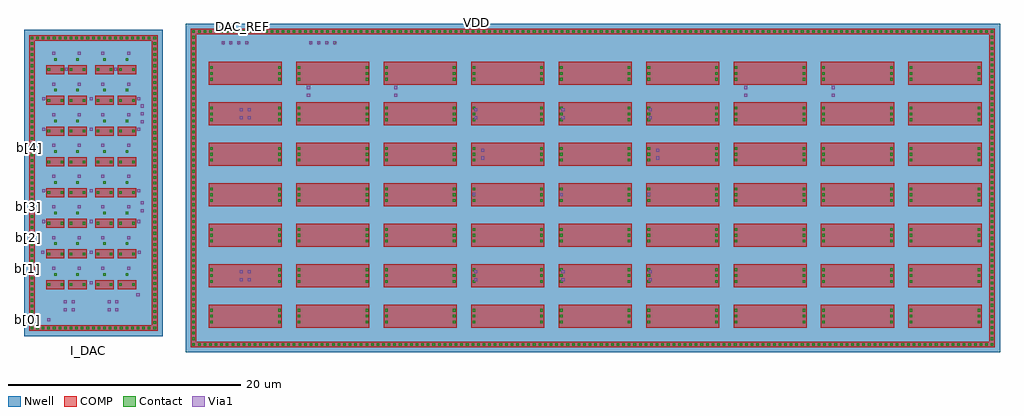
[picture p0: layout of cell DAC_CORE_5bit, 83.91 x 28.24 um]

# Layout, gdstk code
from math import pi, radians
import gdstk
lib = gdstk.Library(unit=1e-6, precision=5e-09)
def R(c, l, rs):  # rectangles x0, y0, x1, y1
    for r in rs: c.add(gdstk.rectangle(r[:2], r[2:], *l))
def A(c, l, x, y, w, h, nx, ny, dx, dy):  # array of equal rectangles
    R(c, l, [(x+i*dx, y+j*dy, x+i*dx+w, y+j*dy+h) for i in range(nx) for j in range(ny)])
Nwell = (21, 0)
COMP = (22, 0)
Contact = (33, 0)
Via1 = (35, 0)

d_pfet_03v3 = lib.new_cell('D$pfet_03v3')

d_pfet_03v3_1 = lib.new_cell('D$pfet_03v3$1')

dac_core_5bit = lib.new_cell('DAC_CORE_5bit')
A(dac_core_5bit, Nwell, 15.79, 0, 1.36, 1.36, 144, 2, 0.48, 26.88)
A(dac_core_5bit, Nwell, 15.79, 0.48, 1.36, 1.36, 1, 55, 0, 0.48)
A(dac_core_5bit, Nwell, 84.43, 0.48, 1.36, 1.36, 1, 55, 0, 0.48)
A(dac_core_5bit, Nwell, 17.15, 1.36, 7.52, 3.48, 9, 7, 7.52, 3.48)
A(dac_core_5bit, Nwell, 1.88, 1.39, 1.36, 1.36, 23, 2, 0.48, 24.96)
A(dac_core_5bit, Nwell, 1.88, 1.87, 1.36, 1.36, 1, 51, 0, 0.48)
A(dac_core_5bit, Nwell, 12.44, 1.87, 1.36, 1.36, 1, 51, 0, 0.48)
A(dac_core_5bit, Nwell, 3.17, 4.68, 2.8, 2.64, 1, 8, 0, 2.64)
A(dac_core_5bit, Nwell, 5.09, 4.68, 2.8, 2.64, 1, 8, 0, 2.64)
A(dac_core_5bit, Nwell, 7.41, 4.68, 2.8, 2.64, 1, 8, 0, 2.64)
A(dac_core_5bit, Nwell, 9.33, 4.68, 2.8, 2.64, 1, 8, 0, 2.64)
R(dac_core_5bit, Nwell, [(15.79,0,85.79,28.24), (1.88,1.39,13.32,27.71)])
A(dac_core_5bit, COMP, 16.23, 0.44, 0.48, 0.48, 144, 2, 0.48, 26.88)
A(dac_core_5bit, COMP, 16.23, 0.92, 0.48, 0.48, 1, 55, 0, 0.48)
A(dac_core_5bit, COMP, 84.87, 0.92, 0.48, 0.48, 1, 55, 0, 0.48)
A(dac_core_5bit, COMP, 2.32, 1.83, 0.48, 0.48, 23, 2, 0.48, 24.96)
A(dac_core_5bit, COMP, 17.76, 2.1, 6.3, 2, 9, 7, 7.52, 3.48)
A(dac_core_5bit, COMP, 2.32, 2.31, 0.48, 0.48, 1, 51, 0, 0.48)
A(dac_core_5bit, COMP, 12.88, 2.31, 0.48, 0.48, 1, 51, 0, 0.48)
A(dac_core_5bit, COMP, 3.78, 5.42, 1.58, 0.78, 1, 8, 0, 2.64)
A(dac_core_5bit, COMP, 5.7, 5.42, 1.58, 0.78, 1, 8, 0, 2.64)
A(dac_core_5bit, COMP, 8.02, 5.42, 1.58, 0.78, 1, 8, 0, 2.64)
A(dac_core_5bit, COMP, 9.94, 5.42, 1.58, 0.78, 1, 8, 0, 2.64)
A(dac_core_5bit, Contact, 16.36, 0.57, 0.22, 0.22, 144, 2, 0.48, 26.88)
A(dac_core_5bit, Contact, 16.36, 1.05, 0.22, 0.22, 1, 55, 0, 0.48)
A(dac_core_5bit, Contact, 85, 1.05, 0.22, 0.22, 1, 55, 0, 0.48)
A(dac_core_5bit, Contact, 2.45, 1.96, 0.22, 0.22, 23, 2, 0.48, 24.96)
A(dac_core_5bit, Contact, 2.45, 2.44, 0.22, 0.22, 1, 51, 0, 0.48)
A(dac_core_5bit, Contact, 13.01, 2.44, 0.22, 0.22, 1, 51, 0, 0.48)
A(dac_core_5bit, Contact, 17.88, 2.48, 0.22, 0.22, 1, 3, 0, 0.51)
A(dac_core_5bit, Contact, 23.72, 2.48, 0.22, 0.22, 1, 3, 0, 0.51)
A(dac_core_5bit, Contact, 25.4, 2.48, 0.22, 0.22, 1, 3, 0, 0.51)
A(dac_core_5bit, Contact, 31.24, 2.48, 0.22, 0.22, 1, 3, 0, 0.51)
A(dac_core_5bit, Contact, 32.92, 2.48, 0.22, 0.22, 1, 3, 0, 0.51)
A(dac_core_5bit, Contact, 38.76, 2.48, 0.22, 0.22, 1, 3, 0, 0.51)
A(dac_core_5bit, Contact, 40.44, 2.48, 0.22, 0.22, 1, 3, 0, 0.51)
A(dac_core_5bit, Contact, 46.28, 2.48, 0.22, 0.22, 1, 3, 0, 0.51)
A(dac_core_5bit, Contact, 47.96, 2.48, 0.22, 0.22, 1, 3, 0, 0.51)
A(dac_core_5bit, Contact, 53.8, 2.48, 0.22, 0.22, 1, 3, 0, 0.51)
A(dac_core_5bit, Contact, 55.48, 2.48, 0.22, 0.22, 1, 3, 0, 0.51)
A(dac_core_5bit, Contact, 61.32, 2.48, 0.22, 0.22, 1, 3, 0, 0.51)
A(dac_core_5bit, Contact, 63, 2.48, 0.22, 0.22, 1, 3, 0, 0.51)
A(dac_core_5bit, Contact, 68.84, 2.48, 0.22, 0.22, 1, 3, 0, 0.51)
A(dac_core_5bit, Contact, 70.52, 2.48, 0.22, 0.22, 1, 3, 0, 0.51)
A(dac_core_5bit, Contact, 76.36, 2.48, 0.22, 0.22, 1, 3, 0, 0.51)
A(dac_core_5bit, Contact, 78.04, 2.48, 0.22, 0.22, 1, 3, 0, 0.51)
A(dac_core_5bit, Contact, 83.88, 2.48, 0.22, 0.22, 1, 3, 0, 0.51)
A(dac_core_5bit, Contact, 3.9, 5.7, 0.22, 0.22, 1, 8, 0, 2.64)
A(dac_core_5bit, Contact, 5.02, 5.7, 0.22, 0.22, 1, 8, 0, 2.64)
A(dac_core_5bit, Contact, 5.82, 5.7, 0.22, 0.22, 1, 8, 0, 2.64)
A(dac_core_5bit, Contact, 6.94, 5.7, 0.22, 0.22, 1, 8, 0, 2.64)
A(dac_core_5bit, Contact, 8.14, 5.7, 0.22, 0.22, 1, 8, 0, 2.64)
A(dac_core_5bit, Contact, 9.26, 5.7, 0.22, 0.22, 1, 8, 0, 2.64)
A(dac_core_5bit, Contact, 10.06, 5.7, 0.22, 0.22, 1, 8, 0, 2.64)
A(dac_core_5bit, Contact, 11.18, 5.7, 0.22, 0.22, 1, 8, 0, 2.64)
A(dac_core_5bit, Contact, 17.88, 5.96, 0.22, 0.22, 1, 3, 0, 0.51)
A(dac_core_5bit, Contact, 23.72, 5.96, 0.22, 0.22, 1, 3, 0, 0.51)
A(dac_core_5bit, Contact, 25.4, 5.96, 0.22, 0.22, 1, 3, 0, 0.51)
A(dac_core_5bit, Contact, 31.24, 5.96, 0.22, 0.22, 1, 3, 0, 0.51)
A(dac_core_5bit, Contact, 32.92, 5.96, 0.22, 0.22, 1, 3, 0, 0.51)
A(dac_core_5bit, Contact, 38.76, 5.96, 0.22, 0.22, 1, 3, 0, 0.51)
A(dac_core_5bit, Contact, 40.44, 5.96, 0.22, 0.22, 1, 3, 0, 0.51)
A(dac_core_5bit, Contact, 46.28, 5.96, 0.22, 0.22, 1, 3, 0, 0.51)
A(dac_core_5bit, Contact, 47.96, 5.96, 0.22, 0.22, 1, 3, 0, 0.51)
A(dac_core_5bit, Contact, 53.8, 5.96, 0.22, 0.22, 1, 3, 0, 0.51)
A(dac_core_5bit, Contact, 55.48, 5.96, 0.22, 0.22, 1, 3, 0, 0.51)
A(dac_core_5bit, Contact, 61.32, 5.96, 0.22, 0.22, 1, 3, 0, 0.51)
A(dac_core_5bit, Contact, 63, 5.96, 0.22, 0.22, 1, 3, 0, 0.51)
A(dac_core_5bit, Contact, 68.84, 5.96, 0.22, 0.22, 1, 3, 0, 0.51)
A(dac_core_5bit, Contact, 70.52, 5.96, 0.22, 0.22, 1, 3, 0, 0.51)
A(dac_core_5bit, Contact, 76.36, 5.96, 0.22, 0.22, 1, 3, 0, 0.51)
A(dac_core_5bit, Contact, 78.04, 5.96, 0.22, 0.22, 1, 3, 0, 0.51)
A(dac_core_5bit, Contact, 83.88, 5.96, 0.22, 0.22, 1, 3, 0, 0.51)
A(dac_core_5bit, Contact, 4.46, 6.58, 0.22, 0.22, 1, 8, 0, 2.64)
A(dac_core_5bit, Contact, 6.38, 6.58, 0.22, 0.22, 1, 8, 0, 2.64)
A(dac_core_5bit, Contact, 8.7, 6.58, 0.22, 0.22, 1, 8, 0, 2.64)
A(dac_core_5bit, Contact, 10.62, 6.58, 0.22, 0.22, 1, 8, 0, 2.64)
A(dac_core_5bit, Contact, 17.88, 9.44, 0.22, 0.22, 1, 3, 0, 0.51)
A(dac_core_5bit, Contact, 23.72, 9.44, 0.22, 0.22, 1, 3, 0, 0.51)
A(dac_core_5bit, Contact, 25.4, 9.44, 0.22, 0.22, 1, 3, 0, 0.51)
A(dac_core_5bit, Contact, 31.24, 9.44, 0.22, 0.22, 1, 3, 0, 0.51)
A(dac_core_5bit, Contact, 32.92, 9.44, 0.22, 0.22, 1, 3, 0, 0.51)
A(dac_core_5bit, Contact, 38.76, 9.44, 0.22, 0.22, 1, 3, 0, 0.51)
A(dac_core_5bit, Contact, 40.44, 9.44, 0.22, 0.22, 1, 3, 0, 0.51)
A(dac_core_5bit, Contact, 46.28, 9.44, 0.22, 0.22, 1, 3, 0, 0.51)
A(dac_core_5bit, Contact, 47.96, 9.44, 0.22, 0.22, 1, 3, 0, 0.51)
A(dac_core_5bit, Contact, 53.8, 9.44, 0.22, 0.22, 1, 3, 0, 0.51)
A(dac_core_5bit, Contact, 55.48, 9.44, 0.22, 0.22, 1, 3, 0, 0.51)
A(dac_core_5bit, Contact, 61.32, 9.44, 0.22, 0.22, 1, 3, 0, 0.51)
A(dac_core_5bit, Contact, 63, 9.44, 0.22, 0.22, 1, 3, 0, 0.51)
A(dac_core_5bit, Contact, 68.84, 9.44, 0.22, 0.22, 1, 3, 0, 0.51)
A(dac_core_5bit, Contact, 70.52, 9.44, 0.22, 0.22, 1, 3, 0, 0.51)
A(dac_core_5bit, Contact, 76.36, 9.44, 0.22, 0.22, 1, 3, 0, 0.51)
A(dac_core_5bit, Contact, 78.04, 9.44, 0.22, 0.22, 1, 3, 0, 0.51)
A(dac_core_5bit, Contact, 83.88, 9.44, 0.22, 0.22, 1, 3, 0, 0.51)
A(dac_core_5bit, Contact, 17.88, 12.92, 0.22, 0.22, 1, 3, 0, 0.51)
A(dac_core_5bit, Contact, 23.72, 12.92, 0.22, 0.22, 1, 3, 0, 0.51)
A(dac_core_5bit, Contact, 25.4, 12.92, 0.22, 0.22, 1, 3, 0, 0.51)
A(dac_core_5bit, Contact, 31.24, 12.92, 0.22, 0.22, 1, 3, 0, 0.51)
A(dac_core_5bit, Contact, 32.92, 12.92, 0.22, 0.22, 1, 3, 0, 0.51)
A(dac_core_5bit, Contact, 38.76, 12.92, 0.22, 0.22, 1, 3, 0, 0.51)
A(dac_core_5bit, Contact, 40.44, 12.92, 0.22, 0.22, 1, 3, 0, 0.51)
A(dac_core_5bit, Contact, 46.28, 12.92, 0.22, 0.22, 1, 3, 0, 0.51)
A(dac_core_5bit, Contact, 47.96, 12.92, 0.22, 0.22, 1, 3, 0, 0.51)
A(dac_core_5bit, Contact, 53.8, 12.92, 0.22, 0.22, 1, 3, 0, 0.51)
A(dac_core_5bit, Contact, 55.48, 12.92, 0.22, 0.22, 1, 3, 0, 0.51)
A(dac_core_5bit, Contact, 61.32, 12.92, 0.22, 0.22, 1, 3, 0, 0.51)
A(dac_core_5bit, Contact, 63, 12.92, 0.22, 0.22, 1, 3, 0, 0.51)
A(dac_core_5bit, Contact, 68.84, 12.92, 0.22, 0.22, 1, 3, 0, 0.51)
A(dac_core_5bit, Contact, 70.52, 12.92, 0.22, 0.22, 1, 3, 0, 0.51)
A(dac_core_5bit, Contact, 76.36, 12.92, 0.22, 0.22, 1, 3, 0, 0.51)
A(dac_core_5bit, Contact, 78.04, 12.92, 0.22, 0.22, 1, 3, 0, 0.51)
A(dac_core_5bit, Contact, 83.88, 12.92, 0.22, 0.22, 1, 3, 0, 0.51)
A(dac_core_5bit, Contact, 17.88, 16.4, 0.22, 0.22, 1, 3, 0, 0.51)
A(dac_core_5bit, Contact, 23.72, 16.4, 0.22, 0.22, 1, 3, 0, 0.51)
A(dac_core_5bit, Contact, 25.4, 16.4, 0.22, 0.22, 1, 3, 0, 0.51)
A(dac_core_5bit, Contact, 31.24, 16.4, 0.22, 0.22, 1, 3, 0, 0.51)
A(dac_core_5bit, Contact, 32.92, 16.4, 0.22, 0.22, 1, 3, 0, 0.51)
A(dac_core_5bit, Contact, 38.76, 16.4, 0.22, 0.22, 1, 3, 0, 0.51)
A(dac_core_5bit, Contact, 40.44, 16.4, 0.22, 0.22, 1, 3, 0, 0.51)
A(dac_core_5bit, Contact, 46.28, 16.4, 0.22, 0.22, 1, 3, 0, 0.51)
A(dac_core_5bit, Contact, 47.96, 16.4, 0.22, 0.22, 1, 3, 0, 0.51)
A(dac_core_5bit, Contact, 53.8, 16.4, 0.22, 0.22, 1, 3, 0, 0.51)
A(dac_core_5bit, Contact, 55.48, 16.4, 0.22, 0.22, 1, 3, 0, 0.51)
A(dac_core_5bit, Contact, 61.32, 16.4, 0.22, 0.22, 1, 3, 0, 0.51)
A(dac_core_5bit, Contact, 63, 16.4, 0.22, 0.22, 1, 3, 0, 0.51)
A(dac_core_5bit, Contact, 68.84, 16.4, 0.22, 0.22, 1, 3, 0, 0.51)
A(dac_core_5bit, Contact, 70.52, 16.4, 0.22, 0.22, 1, 3, 0, 0.51)
A(dac_core_5bit, Contact, 76.36, 16.4, 0.22, 0.22, 1, 3, 0, 0.51)
A(dac_core_5bit, Contact, 78.04, 16.4, 0.22, 0.22, 1, 3, 0, 0.51)
A(dac_core_5bit, Contact, 83.88, 16.4, 0.22, 0.22, 1, 3, 0, 0.51)
A(dac_core_5bit, Contact, 17.88, 19.88, 0.22, 0.22, 1, 3, 0, 0.51)
A(dac_core_5bit, Contact, 23.72, 19.88, 0.22, 0.22, 1, 3, 0, 0.51)
A(dac_core_5bit, Contact, 25.4, 19.88, 0.22, 0.22, 1, 3, 0, 0.51)
A(dac_core_5bit, Contact, 31.24, 19.88, 0.22, 0.22, 1, 3, 0, 0.51)
A(dac_core_5bit, Contact, 32.92, 19.88, 0.22, 0.22, 1, 3, 0, 0.51)
A(dac_core_5bit, Contact, 38.76, 19.88, 0.22, 0.22, 1, 3, 0, 0.51)
A(dac_core_5bit, Contact, 40.44, 19.88, 0.22, 0.22, 1, 3, 0, 0.51)
A(dac_core_5bit, Contact, 46.28, 19.88, 0.22, 0.22, 1, 3, 0, 0.51)
A(dac_core_5bit, Contact, 47.96, 19.88, 0.22, 0.22, 1, 3, 0, 0.51)
A(dac_core_5bit, Contact, 53.8, 19.88, 0.22, 0.22, 1, 3, 0, 0.51)
A(dac_core_5bit, Contact, 55.48, 19.88, 0.22, 0.22, 1, 3, 0, 0.51)
A(dac_core_5bit, Contact, 61.32, 19.88, 0.22, 0.22, 1, 3, 0, 0.51)
A(dac_core_5bit, Contact, 63, 19.88, 0.22, 0.22, 1, 3, 0, 0.51)
A(dac_core_5bit, Contact, 68.84, 19.88, 0.22, 0.22, 1, 3, 0, 0.51)
A(dac_core_5bit, Contact, 70.52, 19.88, 0.22, 0.22, 1, 3, 0, 0.51)
A(dac_core_5bit, Contact, 76.36, 19.88, 0.22, 0.22, 1, 3, 0, 0.51)
A(dac_core_5bit, Contact, 78.04, 19.88, 0.22, 0.22, 1, 3, 0, 0.51)
A(dac_core_5bit, Contact, 83.88, 19.88, 0.22, 0.22, 1, 3, 0, 0.51)
A(dac_core_5bit, Contact, 17.88, 23.36, 0.22, 0.22, 1, 3, 0, 0.51)
A(dac_core_5bit, Contact, 23.72, 23.36, 0.22, 0.22, 1, 3, 0, 0.51)
A(dac_core_5bit, Contact, 25.4, 23.36, 0.22, 0.22, 1, 3, 0, 0.51)
A(dac_core_5bit, Contact, 31.24, 23.36, 0.22, 0.22, 1, 3, 0, 0.51)
A(dac_core_5bit, Contact, 32.92, 23.36, 0.22, 0.22, 1, 3, 0, 0.51)
A(dac_core_5bit, Contact, 38.76, 23.36, 0.22, 0.22, 1, 3, 0, 0.51)
A(dac_core_5bit, Contact, 40.44, 23.36, 0.22, 0.22, 1, 3, 0, 0.51)
A(dac_core_5bit, Contact, 46.28, 23.36, 0.22, 0.22, 1, 3, 0, 0.51)
A(dac_core_5bit, Contact, 47.96, 23.36, 0.22, 0.22, 1, 3, 0, 0.51)
A(dac_core_5bit, Contact, 53.8, 23.36, 0.22, 0.22, 1, 3, 0, 0.51)
A(dac_core_5bit, Contact, 55.48, 23.36, 0.22, 0.22, 1, 3, 0, 0.51)
A(dac_core_5bit, Contact, 61.32, 23.36, 0.22, 0.22, 1, 3, 0, 0.51)
A(dac_core_5bit, Contact, 63, 23.36, 0.22, 0.22, 1, 3, 0, 0.51)
A(dac_core_5bit, Contact, 68.84, 23.36, 0.22, 0.22, 1, 3, 0, 0.51)
A(dac_core_5bit, Contact, 70.52, 23.36, 0.22, 0.22, 1, 3, 0, 0.51)
A(dac_core_5bit, Contact, 76.36, 23.36, 0.22, 0.22, 1, 3, 0, 0.51)
A(dac_core_5bit, Contact, 78.04, 23.36, 0.22, 0.22, 1, 3, 0, 0.51)
A(dac_core_5bit, Contact, 83.88, 23.36, 0.22, 0.22, 1, 3, 0, 0.51)
A(dac_core_5bit, Contact, 18.88, 26.5, 0.22, 0.22, 4, 1, 0.68, 0)
A(dac_core_5bit, Contact, 26.44, 26.5, 0.22, 0.22, 4, 1, 0.68, 0)
A(dac_core_5bit, Via1, 4.29, 7.09, 0.26, 0.26, 1, 8, 0, 2.64)
A(dac_core_5bit, Via1, 6.51, 7.09, 0.26, 0.26, 1, 8, 0, 2.64)
A(dac_core_5bit, Via1, 8.53, 7.09, 0.26, 0.26, 1, 8, 0, 2.64)
A(dac_core_5bit, Via1, 10.75, 7.09, 0.26, 0.26, 1, 8, 0, 2.64)
A(dac_core_5bit, Via1, 3.38, 8.47, 0.26, 0.26, 3, 1, 4.14, 0)
A(dac_core_5bit, Via1, 3.44, 19.03, 0.26, 0.26, 3, 2, 4.08, 2.64)
A(dac_core_5bit, Via1, 11.9, 19.68, 0.26, 0.26, 1, 3, 0, 0.68)
A(dac_core_5bit, Via1, 18.86, 26.48, 0.26, 0.26, 4, 1, 0.68, 0)
A(dac_core_5bit, Via1, 26.42, 26.48, 0.26, 0.26, 4, 1, 0.68, 0)
R(dac_core_5bit, Via1, [(3.89,2.68,4.15,2.94), (5.3,3.53,5.56,3.79), (5.98,3.53,6.24,3.79), (9.06,3.53,9.32,3.79), (9.74,3.53,10,3.79), (5.3,4.21,5.56,4.47), (5.98,4.21,6.24,4.47), (9.06,4.21,9.32,4.47), (9.74,4.21,10,4.47), (11.55,4.83,11.81,5.09), (7.52,5.83,7.78,6.09), (20.44,6.11,20.7,6.37), (21.12,6.11,21.38,6.37), (40.58,6.11,40.84,6.37), (48.09,6.11,48.35,6.37), (55.61,6.11,55.87,6.37), (20.44,6.79,20.7,7.05), (21.12,6.79,21.38,7.05), (40.58,6.79,40.84,7.05), (48.09,6.79,48.35,7.05), (55.61,6.79,55.87,7.05), (3.45,11.11,3.71,11.37), (7.52,11.11,7.78,11.37), (11.6,11.11,11.86,11.37), (11.9,12.03,12.16,12.29), (11.9,12.71,12.16,12.97), (47.93,13.43,48.19,13.69), (40.41,13.45,40.67,13.71), (55.45,13.45,55.71,13.71), (3.45,13.75,3.71,14.01), (7.52,13.75,7.78,14.01), (11.6,13.75,11.86,14.01), (41.19,16.57,41.45,16.83), (56.23,16.57,56.49,16.83), (41.19,17.25,41.45,17.51), (56.23,17.25,56.49,17.51), (20.44,20.03,20.7,20.29), (21.12,20.03,21.38,20.29), (40.58,20.03,40.84,20.29), (48.09,20.03,48.35,20.29), (55.61,20.03,55.87,20.29), (20.44,20.71,20.7,20.97), (21.12,20.71,21.38,20.97), (40.58,20.71,40.84,20.97), (48.09,20.71,48.35,20.97), (55.61,20.71,55.87,20.97), (26.21,21.95,26.47,22.21), (33.73,21.95,33.99,22.21), (63.81,21.95,64.07,22.21), (71.34,21.95,71.6,22.21), (26.21,22.63,26.47,22.89), (33.73,22.63,33.99,22.89), (63.81,22.63,64.07,22.89), (71.34,22.63,71.6,22.89), (5.4,24.18,5.66,24.44), (9.64,24.18,9.9,24.44)])
dac_core_5bit.add(gdstk.Reference(d_pfet_03v3, (6.49,5.81)))
dac_core_5bit.add(gdstk.Reference(d_pfet_03v3, (10.73,5.81)))
dac_core_5bit.add(gdstk.Reference(d_pfet_03v3, (6.49,8.45)))
dac_core_5bit.add(gdstk.Reference(d_pfet_03v3, (10.73,8.45)))
dac_core_5bit.add(gdstk.Reference(d_pfet_03v3, (6.49,11.09)))
dac_core_5bit.add(gdstk.Reference(d_pfet_03v3, (10.73,11.09)))
dac_core_5bit.add(gdstk.Reference(d_pfet_03v3, (6.49,13.73)))
dac_core_5bit.add(gdstk.Reference(d_pfet_03v3, (10.73,13.73)))
dac_core_5bit.add(gdstk.Reference(d_pfet_03v3, (6.49,16.37)))
dac_core_5bit.add(gdstk.Reference(d_pfet_03v3, (10.73,16.37)))
dac_core_5bit.add(gdstk.Reference(d_pfet_03v3, (6.49,19.01)))
dac_core_5bit.add(gdstk.Reference(d_pfet_03v3, (10.73,19.01)))
dac_core_5bit.add(gdstk.Reference(d_pfet_03v3, (6.49,21.65)))
dac_core_5bit.add(gdstk.Reference(d_pfet_03v3, (10.73,21.65)))
dac_core_5bit.add(gdstk.Reference(d_pfet_03v3, (6.49,24.29)))
dac_core_5bit.add(gdstk.Reference(d_pfet_03v3, (10.73,24.29)))
dac_core_5bit.add(gdstk.Reference(d_pfet_03v3, (4.57,5.81), rotation=pi, x_reflection=True))
dac_core_5bit.add(gdstk.Reference(d_pfet_03v3, (8.81,5.81), rotation=pi, x_reflection=True))
dac_core_5bit.add(gdstk.Reference(d_pfet_03v3, (4.57,8.45), rotation=pi, x_reflection=True))
dac_core_5bit.add(gdstk.Reference(d_pfet_03v3, (8.81,8.45), rotation=pi, x_reflection=True))
dac_core_5bit.add(gdstk.Reference(d_pfet_03v3, (4.57,11.09), rotation=pi, x_reflection=True))
dac_core_5bit.add(gdstk.Reference(d_pfet_03v3, (8.81,11.09), rotation=pi, x_reflection=True))
dac_core_5bit.add(gdstk.Reference(d_pfet_03v3, (4.57,13.73), rotation=pi, x_reflection=True))
dac_core_5bit.add(gdstk.Reference(d_pfet_03v3, (8.81,13.73), rotation=pi, x_reflection=True))
dac_core_5bit.add(gdstk.Reference(d_pfet_03v3, (4.57,16.37), rotation=pi, x_reflection=True))
dac_core_5bit.add(gdstk.Reference(d_pfet_03v3, (8.81,16.37), rotation=pi, x_reflection=True))
dac_core_5bit.add(gdstk.Reference(d_pfet_03v3, (4.57,19.01), rotation=pi, x_reflection=True))
dac_core_5bit.add(gdstk.Reference(d_pfet_03v3, (8.81,19.01), rotation=pi, x_reflection=True))
dac_core_5bit.add(gdstk.Reference(d_pfet_03v3, (4.57,21.65), rotation=pi, x_reflection=True))
dac_core_5bit.add(gdstk.Reference(d_pfet_03v3, (8.81,21.65), rotation=pi, x_reflection=True))
dac_core_5bit.add(gdstk.Reference(d_pfet_03v3, (4.57,24.29), rotation=pi, x_reflection=True))
dac_core_5bit.add(gdstk.Reference(d_pfet_03v3, (8.81,24.29), rotation=pi, x_reflection=True))
dac_core_5bit.add(gdstk.Reference(d_pfet_03v3_1, (20.91,3.1)))
dac_core_5bit.add(gdstk.Reference(d_pfet_03v3_1, (28.43,3.1)))
dac_core_5bit.add(gdstk.Reference(d_pfet_03v3_1, (35.95,3.1)))
dac_core_5bit.add(gdstk.Reference(d_pfet_03v3_1, (43.47,3.1)))
dac_core_5bit.add(gdstk.Reference(d_pfet_03v3_1, (50.99,3.1)))
dac_core_5bit.add(gdstk.Reference(d_pfet_03v3_1, (58.51,3.1)))
dac_core_5bit.add(gdstk.Reference(d_pfet_03v3_1, (66.03,3.1)))
dac_core_5bit.add(gdstk.Reference(d_pfet_03v3_1, (73.55,3.1)))
dac_core_5bit.add(gdstk.Reference(d_pfet_03v3_1, (81.07,3.1)))
dac_core_5bit.add(gdstk.Reference(d_pfet_03v3_1, (20.91,6.58)))
dac_core_5bit.add(gdstk.Reference(d_pfet_03v3_1, (28.43,6.58)))
dac_core_5bit.add(gdstk.Reference(d_pfet_03v3_1, (35.95,6.58)))
dac_core_5bit.add(gdstk.Reference(d_pfet_03v3_1, (43.47,6.58)))
dac_core_5bit.add(gdstk.Reference(d_pfet_03v3_1, (50.99,6.58)))
dac_core_5bit.add(gdstk.Reference(d_pfet_03v3_1, (58.51,6.58)))
dac_core_5bit.add(gdstk.Reference(d_pfet_03v3_1, (66.03,6.58)))
dac_core_5bit.add(gdstk.Reference(d_pfet_03v3_1, (73.55,6.58)))
dac_core_5bit.add(gdstk.Reference(d_pfet_03v3_1, (81.07,6.58)))
dac_core_5bit.add(gdstk.Reference(d_pfet_03v3_1, (20.91,10.06)))
dac_core_5bit.add(gdstk.Reference(d_pfet_03v3_1, (28.43,10.06)))
dac_core_5bit.add(gdstk.Reference(d_pfet_03v3_1, (35.95,10.06)))
dac_core_5bit.add(gdstk.Reference(d_pfet_03v3_1, (43.47,10.06)))
dac_core_5bit.add(gdstk.Reference(d_pfet_03v3_1, (50.99,10.06)))
dac_core_5bit.add(gdstk.Reference(d_pfet_03v3_1, (58.51,10.06)))
dac_core_5bit.add(gdstk.Reference(d_pfet_03v3_1, (66.03,10.06)))
dac_core_5bit.add(gdstk.Reference(d_pfet_03v3_1, (73.55,10.06)))
dac_core_5bit.add(gdstk.Reference(d_pfet_03v3_1, (81.07,10.06)))
dac_core_5bit.add(gdstk.Reference(d_pfet_03v3_1, (20.91,13.54)))
dac_core_5bit.add(gdstk.Reference(d_pfet_03v3_1, (28.43,13.54)))
dac_core_5bit.add(gdstk.Reference(d_pfet_03v3_1, (35.95,13.54)))
dac_core_5bit.add(gdstk.Reference(d_pfet_03v3_1, (43.47,13.54)))
dac_core_5bit.add(gdstk.Reference(d_pfet_03v3_1, (50.99,13.54)))
dac_core_5bit.add(gdstk.Reference(d_pfet_03v3_1, (58.51,13.54)))
dac_core_5bit.add(gdstk.Reference(d_pfet_03v3_1, (66.03,13.54)))
dac_core_5bit.add(gdstk.Reference(d_pfet_03v3_1, (73.55,13.54)))
dac_core_5bit.add(gdstk.Reference(d_pfet_03v3_1, (81.07,13.54)))
dac_core_5bit.add(gdstk.Reference(d_pfet_03v3_1, (20.91,17.02)))
dac_core_5bit.add(gdstk.Reference(d_pfet_03v3_1, (28.43,17.02)))
dac_core_5bit.add(gdstk.Reference(d_pfet_03v3_1, (35.95,17.02)))
dac_core_5bit.add(gdstk.Reference(d_pfet_03v3_1, (43.47,17.02)))
dac_core_5bit.add(gdstk.Reference(d_pfet_03v3_1, (50.99,17.02)))
dac_core_5bit.add(gdstk.Reference(d_pfet_03v3_1, (58.51,17.02)))
dac_core_5bit.add(gdstk.Reference(d_pfet_03v3_1, (66.03,17.02)))
dac_core_5bit.add(gdstk.Reference(d_pfet_03v3_1, (73.55,17.02)))
dac_core_5bit.add(gdstk.Reference(d_pfet_03v3_1, (81.07,17.02)))
dac_core_5bit.add(gdstk.Reference(d_pfet_03v3_1, (20.91,20.5)))
dac_core_5bit.add(gdstk.Reference(d_pfet_03v3_1, (28.43,20.5)))
dac_core_5bit.add(gdstk.Reference(d_pfet_03v3_1, (35.95,20.5)))
dac_core_5bit.add(gdstk.Reference(d_pfet_03v3_1, (43.47,20.5)))
dac_core_5bit.add(gdstk.Reference(d_pfet_03v3_1, (50.99,20.5)))
dac_core_5bit.add(gdstk.Reference(d_pfet_03v3_1, (58.51,20.5)))
dac_core_5bit.add(gdstk.Reference(d_pfet_03v3_1, (66.03,20.5)))
dac_core_5bit.add(gdstk.Reference(d_pfet_03v3_1, (73.55,20.5)))
dac_core_5bit.add(gdstk.Reference(d_pfet_03v3_1, (81.07,20.5)))
dac_core_5bit.add(gdstk.Reference(d_pfet_03v3_1, (20.91,23.98)))
dac_core_5bit.add(gdstk.Reference(d_pfet_03v3_1, (28.43,23.98)))
dac_core_5bit.add(gdstk.Reference(d_pfet_03v3_1, (35.95,23.98)))
dac_core_5bit.add(gdstk.Reference(d_pfet_03v3_1, (43.47,23.98)))
dac_core_5bit.add(gdstk.Reference(d_pfet_03v3_1, (50.99,23.98)))
dac_core_5bit.add(gdstk.Reference(d_pfet_03v3_1, (58.51,23.98)))
dac_core_5bit.add(gdstk.Reference(d_pfet_03v3_1, (66.03,23.98)))
dac_core_5bit.add(gdstk.Reference(d_pfet_03v3_1, (73.55,23.98)))
dac_core_5bit.add(gdstk.Reference(d_pfet_03v3_1, (81.07,23.98)))
dac_core_5bit.add(gdstk.Label('VDD', (40.82,28.35), layer=34, texttype=10))
dac_core_5bit.add(gdstk.Label('DAC_REF', (20.64,28.03), layer=36, texttype=10))
dac_core_5bit.add(gdstk.Label('b[4]', (2.315,17.585), layer=36, texttype=10))
dac_core_5bit.add(gdstk.Label('b[3]', (2.25,12.505), layer=36, texttype=10))
dac_core_5bit.add(gdstk.Label('b[2]', (2.23,9.86), layer=36, texttype=10))
dac_core_5bit.add(gdstk.Label('b[1]', (2.185,7.225), layer=36, texttype=10))
dac_core_5bit.add(gdstk.Label('b[0]', (2.205,2.82), layer=36, texttype=10))
dac_core_5bit.add(gdstk.Label('I_DAC', (7.42,0.14), layer=36, texttype=10))

lib.write_gds('DAC_CORE_5bit.gds')
